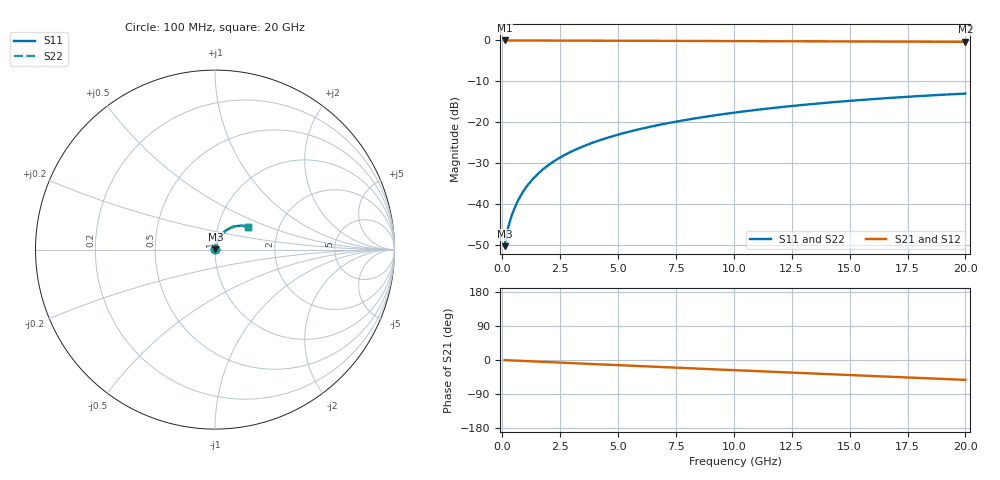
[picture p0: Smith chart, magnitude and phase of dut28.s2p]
! Touchstone file exported from HFSS 2026.1.0
!  File:  C:/ffzhzh/LocalFiles/Ansys_Project_Files/temp_train_TMRDL_28_1782880486_46784.aedt
!  Generated:  12:36:05 PM Jul  1, 2026
!  Design:  TMRDL
!  Project:  temp_train_TMRDL_28_1782880486_46784
! Variables:
!  h_bsmrdl = 2um
!  h_ox = 20um
!  h_rdl = 5um
!  h_sub = 80um
!  h_tmrdl = 5.42um
!  h_tsv = 80um
!  h_via = 3um
!  l_bsmrdl = 300um
!  l_sub = 1300.77um
!  l_tmrdl = 900.77um
!  m_sub = 200um
!  pitch = 41.81um
!  r_tsv = 6um
!  s_tmrdl = 10um
!  w_bsmrdl = 18um
!  w_sub = 500um
!  w_tmrdl = 28.47um
!  x_tsv_center1 = 915.005um
!  x_tsv_center2 = 1233.005um
!  x_tsv_center3 = 2162.245um
!  x_tsv_center4 = 2480.245um
!  x_tsv_center5 = 3409.485um
!  x_tsv_center6 = 3727.485um
# GHz S MA R 50.000000
! Terminal data exported
! Port[1] = TM_RDL1_1_T1
! Port[2] = TM_RDL1_1_T2
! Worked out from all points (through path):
!   200 points, 100 MHz to 20 GHz, reference 50 ohm
!   highest |S21| = -0.02 dB at 100 MHz (marker M1); lowest = -0.4 dB at 20 GHz (marker M2)
!   group delay of S21, straight-line fit = 7.26 ps
!   lowest |S11| = -50.3 dB at 100 MHz (marker M3), VSWR 1.01, Z = 50.2 + j0.193 ohm
!   |S11| at or under -10 dB: start of sweep to end of sweep
!   |S22| runs from -50.3 to -13.0 dB; largest |S21 - S12| = 1.3e-14
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0.1  0.00307 38.6  0.9976 -0.3  0.9976 -0.3  0.00307 38.6
! Gamma 0 0 0 0
! Port Impedance 50 0 50 0
0.2  0.004466 52.1  0.9973 -0.6  0.9973 -0.6  0.004466 52.1
0.3  0.005817 58.9  0.9971 -0.9  0.9971 -0.9  0.005816 58.9
0.4  0.007164 63.5  0.9969 -1.1  0.9969 -1.1  0.007163 63.5
0.5  0.008534 66.8  0.9968 -1.4  0.9968 -1.4  0.008534 66.8
0.6  0.00993 69.2  0.9968 -1.7  0.9968 -1.7  0.00993 69.2
0.8  0.01278 72.4  0.9966 -2.2  0.9966 -2.2  0.01278 72.4
1.1  0.01712 74.8  0.9963 -3.1  0.9963 -3.1  0.01712 74.8
1.3  0.02002 75.5  0.9961 -3.6  0.9961 -3.6  0.02002 75.5
1.6  0.02437 76.0  0.9957 -4.4  0.9957 -4.4  0.02437 76.0
2.1  0.03154 75.8  0.995 -5.8  0.995 -5.8  0.03154 75.9
2.7  0.03998 75.0  0.994 -7.4  0.994 -7.4  0.03997 75.0
3.5  0.05091 73.4  0.9925 -9.6  0.9925 -9.6  0.05091 73.5
4.2  0.06023 71.9  0.9913 -11.5  0.9913 -11.5  0.06022 71.9
5  0.07062 70.1  0.9898 -13.6  0.9898 -13.6  0.07061 70.1
5.9  0.08204 68.1  0.9882 -16.0  0.9882 -16.0  0.08203 68.1
6.8  0.09321 66.0  0.9865 -18.4  0.9865 -18.4  0.0932 66.0
8.3  0.1113 62.5  0.9837 -22.3  0.9837 -22.3  0.1113 62.5
10.1  0.132 58.2  0.9801 -27.0  0.9801 -27.0  0.132 58.2
13.4  0.1672 50.2  0.9734 -35.6  0.9734 -35.6  0.1672 50.3
16.7  0.198 42.2  0.9666 -44.1  0.9666 -44.1  0.198 42.3
20  0.2241 34.1  0.9601 -52.4  0.9601 -52.4  0.2241 34.3
